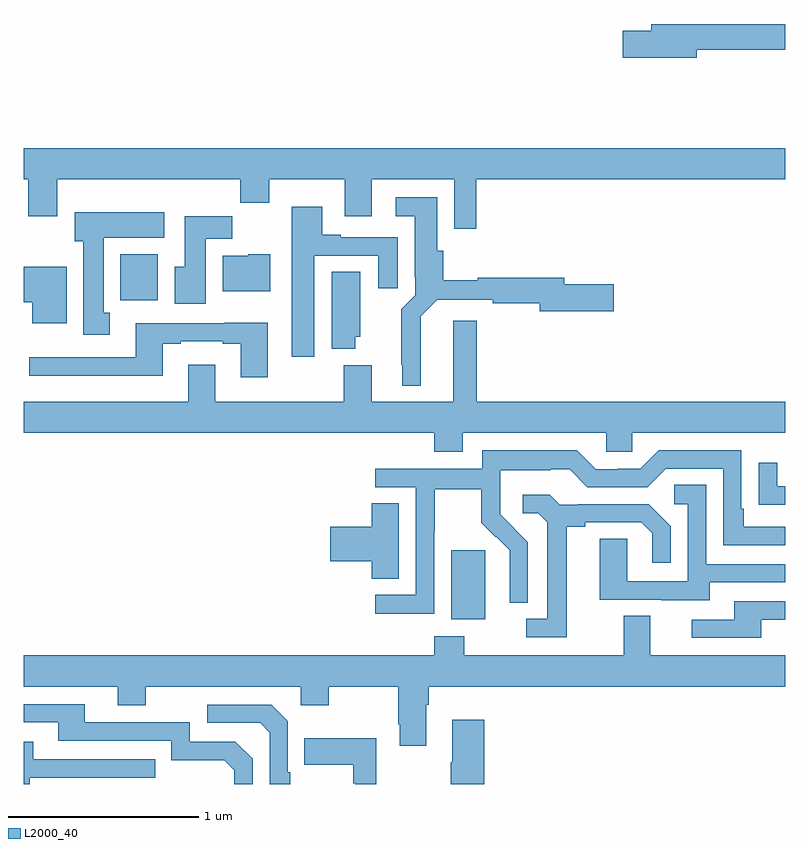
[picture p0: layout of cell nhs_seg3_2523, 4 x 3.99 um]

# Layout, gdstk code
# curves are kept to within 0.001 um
import gdstk
lib = gdstk.Library(unit=1e-6, precision=1e-09)
def R(c, l, rs):  # rectangles x0, y0, x1, y1
    for r in rs: c.add(gdstk.rectangle(r[:2], r[2:], *l))
def P(c, l, *ps):  # polygons
    for p in ps: c.add(gdstk.Polygon(p, *l))
L2000_40 = (2000, 40)

nhs_seg3_2523 = lib.new_cell('nhs_seg3_2523')
R(nhs_seg3_2523, L2000_40, [(243.245,705.266,243.424,705.627), (241.508,706.94,241.705,707.182)])
P(nhs_seg3_2523, L2000_40, [(244.534,708.256),(245,708.256),(245,708.392),(244.295,708.392),(244.295,708.356),(244.146,708.356),(244.146,708.214),(244.534,708.214)],
  [(243.377,707.576),(245,707.576),(245,707.74),(241,707.74),(241,707.576),(241.025,707.576),(241.025,707.382),(241.177,707.382),(241.177,707.576),(242.137,707.576),(242.137,707.452),(242.289,707.452),(242.289,707.576),(242.687,707.576),(242.687,707.382),(242.827,707.382),(242.827,707.576),(243.261,707.576),(243.261,707.316),(243.377,707.316)],
  [(243.085,706.856),(243.172,706.944),(243.463,706.944),(243.463,706.924),(243.71,706.924),(243.71,706.882),(244.099,706.882),(244.099,707.024),(243.838,707.024),(243.838,707.06),(243.386,707.06),(243.386,707.045),(243.203,707.045),(243.203,707.202),(243.172,707.202),(243.172,707.482),(242.955,707.482),(242.955,707.381),(243.053,707.381),(243.053,707.062),(243.057,707.062),(243.057,706.968),(242.983,706.894),(242.983,706.603),(242.987,706.603),(242.987,706.493),(243.085,706.493)],
  [(242.527,707.175),(242.861,707.175),(242.861,707.004),(242.965,707.004),(242.965,707.271),(242.665,707.271),(242.665,707.284),(242.569,707.284),(242.569,707.431),(242.408,707.431),(242.408,706.644),(242.527,706.644)],
  [(241.453,706.874),(241.42,706.874),(241.42,707.27),(241.738,707.27),(241.738,707.404),(241.268,707.404),(241.268,707.25),(241.313,707.25),(241.313,706.761),(241.453,706.761)],
  [(241.957,707.264),(242.096,707.264),(242.096,707.383),(241.847,707.383),(241.847,707.116),(241.793,707.116),(241.793,706.923),(241.957,706.923)],
  [(242.296,707.182),(242.178,707.182),(242.178,707.176),(242.045,707.176),(242.045,706.988),(242.296,706.988)],
  [(241.225,707.116),(241,707.116),(241,706.931),(241.046,706.931),(241.046,706.82),(241.225,706.82)],
  [(242.74,706.749),(242.767,706.749),(242.767,707.09),(242.618,707.09),(242.618,706.685),(242.74,706.685)],
  [(243.307,706.244),(244.059,706.244),(244.059,706.146),(244.197,706.146),(244.197,706.244),(245,706.244),(245,706.408),(243.38,706.408),(243.38,706.834),(243.257,706.834),(243.257,706.408),(242.827,706.408),(242.827,706.6),(242.68,706.6),(242.68,706.408),(242.005,706.408),(242.005,706.603),(241.865,706.603),(241.865,706.408),(241,706.408),(241,706.244),(243.155,706.244),(243.155,706.145),(243.307,706.145)],
  [(242.281,706.822),(242.053,706.822),(242.053,706.821),(241.589,706.821),(241.589,706.641),(241.029,706.641),(241.029,706.544),(241.729,706.544),(241.729,706.713),(241.825,706.713),(241.825,706.725),(242.045,706.725),(242.045,706.713),(242.141,706.713),(242.141,706.536),(242.281,706.536)],
  [(243.156,705.724),(243.159,705.724),(243.159,705.948),(243.403,705.948),(243.403,705.773),(243.48,705.696),(243.483,705.699),(243.554,705.629),(243.554,705.506),(243.552,705.506),(243.552,705.352),(243.648,705.352),(243.648,705.67),(243.502,705.818),(243.502,705.915),(243.504,705.915),(243.504,706.049),(243.767,706.049),(243.767,706.053),(243.867,706.053),(243.96,705.96),(244.275,705.96),(244.371,706.056),(244.674,706.056),(244.674,705.654),(245,705.654),(245,705.75),(244.783,705.75),(244.783,705.847),(244.77,705.847),(244.77,706.152),(244.335,706.152),(244.239,706.056),(244.121,706.056),(244.121,706.053),(244.005,706.053),(243.905,706.153),(243.408,706.153),(243.408,706.056),(242.847,706.056),(242.847,705.96),(243.06,705.96),(243.06,705.393),(242.847,705.393),(242.847,705.295),(243.156,705.295)],
  [(245,705.963),(244.957,705.963),(244.957,706.087),(244.861,706.087),(244.861,705.868),(244.963,705.868),(244.963,705.867),(245,705.867)],
  [(244.603,705.459),(245,705.459),(245,705.555),(244.584,705.555),(244.584,705.971),(244.416,705.971),(244.416,705.87),(244.488,705.87),(244.488,705.465),(244.17,705.465),(244.17,705.689),(244.025,705.689),(244.025,705.369),(244.349,705.369),(244.349,705.365),(244.603,705.365)],
  [(243.853,705.752),(243.949,705.752),(243.949,705.774),(244.244,705.774),(244.301,705.717),(244.301,705.561),(244.398,705.561),(244.398,705.754),(244.282,705.87),(243.91,705.87),(243.91,705.867),(243.816,705.867),(243.764,705.919),(243.621,705.919),(243.621,705.822),(243.702,705.822),(243.749,705.775),(243.749,705.267),(243.639,705.267),(243.639,705.171),(243.853,705.171)],
  [(242.971,705.875),(242.828,705.875),(242.828,705.752),(242.61,705.752),(242.61,705.569),(242.828,705.569),(242.828,705.478),(242.971,705.478)],
  [(244.873,705.264),(245,705.264),(245,705.36),(244.733,705.36),(244.733,705.264),(244.509,705.264),(244.509,705.168),(244.873,705.168)],
  [(243.115,704.816),(243.128,704.816),(243.128,704.912),(245,704.912),(245,705.076),(244.291,705.076),(244.291,705.284),(244.151,705.284),(244.151,705.076),(243.315,705.076),(243.315,705.175),(243.155,705.175),(243.155,705.076),(241,705.076),(241,704.912),(241.493,704.912),(241.493,704.813),(241.641,704.813),(241.641,704.912),(242.454,704.912),(242.454,704.813),(242.601,704.813),(242.601,704.912),(242.968,704.912),(242.968,704.713),(242.975,704.713),(242.975,704.601),(243.115,704.601)],
  [(242.202,704.532),(242.112,704.622),(241.872,704.622),(241.872,704.724),(241.321,704.724),(241.321,704.82),(241,704.82),(241,704.724),(241.181,704.724),(241.181,704.628),(241.776,704.628),(241.776,704.525),(242.053,704.525),(242.106,704.472),(242.106,704.4),(242.202,704.4)],
  [(242.401,704.461),(242.388,704.461),(242.388,704.73),(242.301,704.817),(241.965,704.817),(241.965,704.721),(242.241,704.721),(242.292,704.67),(242.292,704.4),(242.401,704.4)],
  [(243.419,704.737),(243.251,704.737),(243.251,704.513),(243.244,704.513),(243.244,704.4),(243.419,704.4)],
  [(242.851,704.641),(242.473,704.641),(242.473,704.501),(242.73,704.501),(242.73,704.405),(242.742,704.405),(242.742,704.4),(242.851,704.4)],
  [(241.032,704.433),(241.691,704.433),(241.691,704.529),(241.051,704.529),(241.051,704.623),(241,704.623),(241,704.4),(241.032,704.4)])

lib.write_gds('nhs_seg3_2523.gds')
